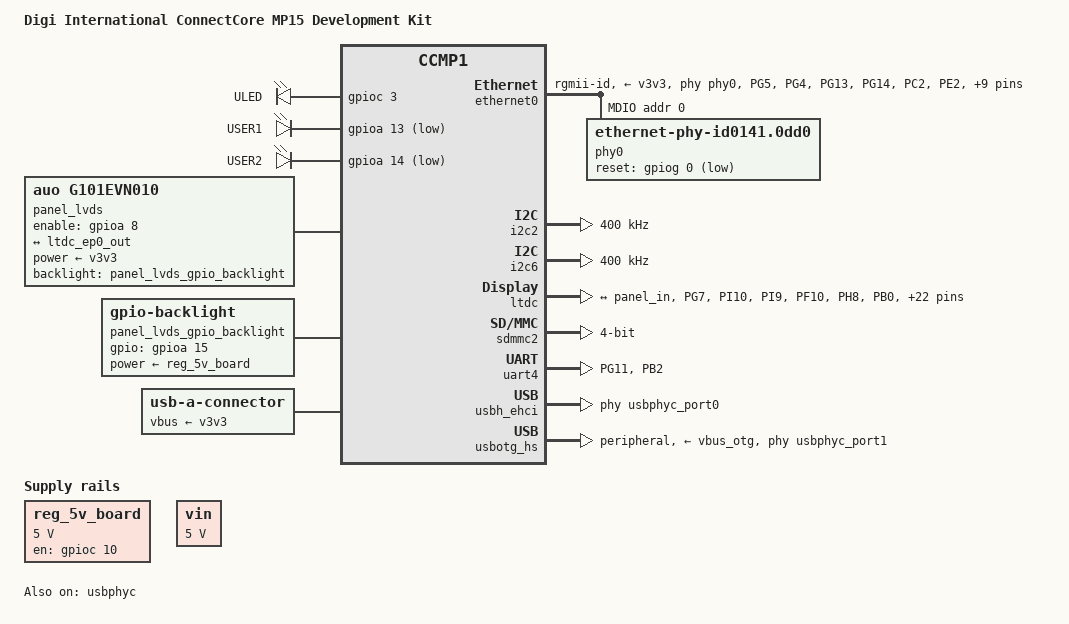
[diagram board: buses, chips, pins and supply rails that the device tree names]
// SPDX-License-Identifier: (GPL-2.0+ OR BSD-3-Clause)
/*
 * Copyright (C) STMicroelectronics 2019 - All Rights Reserved
 * Copyright (C) 2022,2023 Digi International Inc - All Rights Reserved
 */

#include <dt-bindings/gpio/gpio.h>
#include <dt-bindings/input/input.h>
#include <dt-bindings/leds/common.h>
#include <dt-bindings/rtc/rtc-stm32.h>
#include "ccmp15.dtsi"

/ {
	model = "Digi International ConnectCore MP15 Development Kit";
	compatible = "digi,ccmp15-dvk", "digi,ccmp15", "digi,ccmp1";

	chosen {
		#address-cells = <1>;
		#size-cells = <1>;
		ranges;
		stdout-path = "serial0:115200n8";

		framebuffer {
			compatible = "simple-framebuffer";
			clocks = <&rcc LTDC_PX>;
			status = "disabled";
		};
	};

	aliases {
		serial0 = &uart4;
	};

	regulators {
		compatible = "simple-bus";
		#address-cells = <1>;
		#size-cells = <0>;

		reg_5v_board: regulator@1 {
			compatible = "regulator-fixed";
			reg = <1>;
			regulator-name = "5v_board";
			regulator-min-microvolt = <5000000>;
			regulator-max-microvolt = <5000000>;
			gpio = <&gpioc 10 GPIO_ACTIVE_HIGH>;
			enable-active-high;
			status = "okay";
		};
	};

	led {
		compatible = "gpio-leds";

		uled {
			label = "ULED";
			gpios = <&gpioc 3 GPIO_ACTIVE_HIGH>;
			default-state = "off";
		};

		user1 {
			label = "USER1";
			gpios = <&gpioa 13 GPIO_ACTIVE_LOW>;
			default-state = "off";
		};

		user2 {
			label = "USER2";
			gpios = <&gpioa 14 GPIO_ACTIVE_LOW>;
			default-state = "off";
		};
	};

	panel_lvds: panel-lvds {
		compatible = "auo,g101evn010", "simple-panel";
		power-supply = <&v3v3>;
		backlight = <&panel_lvds_gpio_backlight>;
		enable-gpios = <&gpioa 8 GPIO_ACTIVE_HIGH>; /* LVDS_PDWN */
		status = "okay";

		width-mm = <216>;
		height-mm = <135>;
		data-mapping = "jeida-24";

		panel-timing {
			clock-frequency = <54000000>;
			hactive = <1280>;
			vactive = <800>;
			hfront-porch = <82>;
			hback-porch = <84>;
			hsync-len = <2>;
			vfront-porch = <8>;
			vback-porch = <6>;
			vsync-len = <2>;
		};

		port {
			panel_in: endpoint {
				remote-endpoint = <&ltdc_ep0_out>;
			};
		};
	};

	panel_lvds_gpio_backlight: panel-lvds-gpio-backlight {
		compatible = "gpio-backlight";
		power-supply = <&reg_5v_board>;
		gpios = <&gpioa 15 GPIO_ACTIVE_HIGH>; /* BCKL_PWM */
		default-on;
		status = "okay";
	};

	vin: vin {
		compatible = "regulator-fixed";
		regulator-name = "vin";
		regulator-min-microvolt = <5000000>;
		regulator-max-microvolt = <5000000>;
		regulator-always-on;
	};
};

&dsi {
	#address-cells = <1>;
	#size-cells = <0>;
	clocks = <&rcc DSI>, <&scmi_clk CK_SCMI_HSE>, <&rcc DSI_PX>;
	status = "disabled";

	ports {
		#address-cells = <1>;
		#size-cells = <0>;

		port@0 {
			reg = <0>;
			dsi_in: endpoint {
				remote-endpoint = <&ltdc_ep0_out>;
			};
		};

		/*port@1 {
			reg = <1>;
			dsi_out: endpoint {
				remote-endpoint = <&dsi_panel_in>;
			};
		};*/
	};
};

/* 10/100 Ethernet */
/*&ethernet0 {
	status = "okay";
	pinctrl-0 = <&ethernet0_rgmii_pins_a>;
	pinctrl-1 = <&ethernet0_rgmii_sleep_pins_a>;
	pinctrl-names = "default", "sleep";
	phy-mode = "rgmii-id";
	max-speed = <1000>;
	phy-handle = <&phy0>;
	phy-supply = <&v3v3>;
	nvmem-cells = <&ethernet_mac_address>;
	nvmem-cell-names = "mac-address";

	mdio0 {
		#address-cells = <1>;
		#size-cells = <0>;
		compatible = "snps,dwmac-mdio";
		phy0: ethernet-phy@0 {
			reg = <0>;
		};
	};
};*/

/* 10/100/1000 Ethernet */
&ethernet0 {
	status = "okay";
	pinctrl-0 = <&ccmp15_ethernet0_rgmii_pins>;
	pinctrl-1 = <&ccmp15_ethernet0_rgmii_sleep_pins>;
	pinctrl-names = "default", "sleep";
	phy-mode = "rgmii-id";
	max-speed = <1000>;
	phy-handle = <&phy0>;
	phy-supply = <&v3v3>;

	mdio0 {
		#address-cells = <1>;
		#size-cells = <0>;
		compatible = "snps,dwmac-mdio";

		phy0: ethernet-phy@0 {
			reg = <0>;
			compatible = "ethernet-phy-id0141.0dd0"; /* PHY ID for Marvell 88E1512 */
			reset-gpios = <&gpiog 0 (GPIO_ACTIVE_LOW | GPIO_PULL_UP)>;
			reset-assert-us = <1000>;
			reset-deassert-us = <2000>;
		};
	};
};

&gpioz {
	clocks = <&scmi_clk CK_SCMI_GPIOZ>;
};

&i2c2 {
	pinctrl-names = "default", "sleep";
	pinctrl-0 = <&i2c2_pins_a>;
	pinctrl-1 = <&i2c2_sleep_pins_a>;
	i2c-scl-rising-time-ns = <185>;
	i2c-scl-falling-time-ns = <20>;
	clock-frequency = <400000>;
	status = "okay";
	/* spare dmas for other usage */
	/delete-property/dmas;
	/delete-property/dma-names;
};

&i2c6 {
	pinctrl-names = "default", "sleep";
	pinctrl-0 = <&ccmp15_i2c6_pins_a>;
	pinctrl-1 = <&ccmp15_i2c6_sleep_pins_a>;
	i2c-scl-rising-time-ns = <185>;
	i2c-scl-falling-time-ns = <20>;
	clock-frequency = <400000>;
	clocks = <&scmi_clk CK_SCMI_I2C6>;
	resets = <&scmi_reset RST_SCMI_I2C6>;
	status = "okay";
	/* spare dmas for other usage */
	/delete-property/dmas;
	/delete-property/dma-names;
};

&ltdc {
	status = "okay";
	pinctrl-names = "default", "sleep";
	pinctrl-0 = <&ccmp15_ltdc_18_bits_pins>;
	pinctrl-1 = <&ccmp15_ltdc_sleep_pins>;

	port {
		ltdc_ep0_out: endpoint {
			remote-endpoint = <&panel_in>;
		};
	};
};

/* Micro SD */
&sdmmc2 {
	pinctrl-names = "default", "opendrain", "sleep";
	pinctrl-0 = <&sdmmc2_b4_pins_a>;
	pinctrl-1 = <&sdmmc2_b4_od_pins_a>;
	pinctrl-2 = <&sdmmc2_b4_sleep_pins_a>;
	broken-cd;
	disable-wp;
	no-1-8-v;
	bus-width = <4>;
	/* Power option via 0-ohm resistor */
	/* vmmc-supply = <&vdd_sd>; */
	sd-uhs-sdr12;
	sd-uhs-sdr25;
	sd-uhs-sdr50;
	sd-uhs-ddr50;
	status = "okay";
};

&uart4 {
	pinctrl-names = "default", "sleep", "idle";
	pinctrl-0 = <&ccmp15_uart4_pins_a>;
	pinctrl-1 = <&uart4_sleep_pins_a>;
	pinctrl-2 = <&uart4_idle_pins_a>;
	/delete-property/dmas;
	/delete-property/dma-names;
	status = "okay";
};

&usbh_ehci {
	phys = <&usbphyc_port0>;
	status = "okay";
};

&usbotg_hs {
	u-boot,force-b-session-valid;
	dr_mode = "peripheral";
	phys = <&usbphyc_port1 0>;
	phy-names = "usb2-phy";
	vbus-supply = <&vbus_otg>;
	status = "okay";
};

&usbphyc {
	status = "okay";
};

&usbphyc_port0 {
	phy-supply = <&vdd_usb>;
	st,tune-hs-dc-level = <2>;
	st,enable-fs-rftime-tuning;
	st,enable-hs-rftime-reduction;
	st,trim-hs-current = <15>;
	st,trim-hs-impedance = <1>;
	st,tune-squelch-level = <3>;
	st,tune-hs-rx-offset = <2>;
	st,no-lsfs-sc;

	/*
	 * Hack to keep hub active until all connected devices are suspended
	 * otherwise the hub will be powered off as soon as the v3v3 is disabled
	 * and it can disturb connected devices.
	 */
	connector {
		compatible = "usb-a-connector";
		vbus-supply = <&v3v3>;
	};
};

&usbphyc_port1 {
	phy-supply = <&vdd_usb>;
	st,tune-hs-dc-level = <2>;
	st,enable-fs-rftime-tuning;
	st,enable-hs-rftime-reduction;
	st,trim-hs-current = <15>;
	st,trim-hs-impedance = <1>;
	st,tune-squelch-level = <3>;
	st,tune-hs-rx-offset = <2>;
	st,no-lsfs-sc;
};

&pinctrl {
	ccmp15_ethernet0_rgmii_pins: rgmii-1 {
		pins1 {
			pinmux = <STM32_PINMUX('G', 5, AF11)>, /* ETH_RGMII_CLK125 */
				 <STM32_PINMUX('G', 4, AF11)>, /* ETH_RGMII_GTX_CLK */
				 <STM32_PINMUX('G', 13, AF11)>, /* ETH_RGMII_TXD0 */
				 <STM32_PINMUX('G', 14, AF11)>, /* ETH_RGMII_TXD1 */
				 <STM32_PINMUX('C', 2, AF11)>, /* ETH_RGMII_TXD2 */
				 <STM32_PINMUX('E', 2, AF11)>, /* ETH_RGMII_TXD3 */
				 <STM32_PINMUX('B', 11, AF11)>, /* ETH_RGMII_TX_CTL */
				 <STM32_PINMUX('C', 1, AF11)>; /* ETH_MDC */
			bias-disable;
			drive-push-pull;
			slew-rate = <2>;
		};
		pins2 {
			pinmux = <STM32_PINMUX('A', 2, AF11)>; /* ETH_MDIO */
			bias-disable;
			drive-push-pull;
			slew-rate = <0>;
		};
		pins3 {
			pinmux = <STM32_PINMUX('C', 4, AF11)>, /* ETH_RGMII_RXD0 */
				 <STM32_PINMUX('C', 5, AF11)>, /* ETH_RGMII_RXD1 */
				 <STM32_PINMUX('H', 6, AF11)>, /* ETH_RGMII_RXD2 */
				 <STM32_PINMUX('H', 7, AF11)>, /* ETH_RGMII_RXD3 */
				 <STM32_PINMUX('A', 1, AF11)>, /* ETH_RGMII_RX_CLK */
				 <STM32_PINMUX('A', 7, AF11)>; /* ETH_RGMII_RX_CTL */
			bias-disable;
		};
	};

	ccmp15_ethernet0_rgmii_sleep_pins: rgmii-sleep-1 {
		pins1 {
			pinmux = <STM32_PINMUX('G', 5, ANALOG)>, /* ETH_RGMII_CLK125 */
				 <STM32_PINMUX('G', 4, ANALOG)>, /* ETH_RGMII_GTX_CLK */
				 <STM32_PINMUX('G', 13, ANALOG)>, /* ETH_RGMII_TXD0 */
				 <STM32_PINMUX('G', 14, ANALOG)>, /* ETH_RGMII_TXD1 */
				 <STM32_PINMUX('C', 2, ANALOG)>, /* ETH_RGMII_TXD2 */
				 <STM32_PINMUX('E', 2, ANALOG)>, /* ETH_RGMII_TXD3 */
				 <STM32_PINMUX('B', 11, ANALOG)>, /* ETH_RGMII_TX_CTL */
				 <STM32_PINMUX('C', 1, ANALOG)>, /* ETH_MDC */
				 <STM32_PINMUX('A', 2, ANALOG)>, /* ETH_MDIO */
				 <STM32_PINMUX('C', 4, ANALOG)>, /* ETH_RGMII_RXD0 */
				 <STM32_PINMUX('C', 5, ANALOG)>, /* ETH_RGMII_RXD1 */
				 <STM32_PINMUX('H', 6, ANALOG)>, /* ETH_RGMII_RXD2 */
				 <STM32_PINMUX('H', 7, ANALOG)>, /* ETH_RGMII_RXD3 */
				 <STM32_PINMUX('A', 1, ANALOG)>, /* ETH_RGMII_RX_CLK */
				 <STM32_PINMUX('A', 7, ANALOG)>; /* ETH_RGMII_RX_CTL */
		 };
	};

	ccmp15_ltdc_18_bits_pins: ltdc-18bits-0 {
		pins1 {
			pinmux = <STM32_PINMUX('G',  7, AF14)>, /* LCD_CLK */
				 <STM32_PINMUX('I', 10, AF14)>, /* LCD_HSYNC */
				 <STM32_PINMUX('I',  9, AF14)>, /* LCD_VSYNC */
				 <STM32_PINMUX('F', 10, AF14)>, /* LCD_DE */
				 <STM32_PINMUX('H',  8, AF14)>, /* LCD_R2 */
				 <STM32_PINMUX('B',  0,  AF9)>, /* LCD_R3 */
				 <STM32_PINMUX('A',  5, AF14)>, /* LCD_R4 */
				 <STM32_PINMUX('C',  0, AF14)>, /* LCD_R5 */
				 <STM32_PINMUX('H', 12, AF14)>, /* LCD_R6 */
				 <STM32_PINMUX('E', 15, AF14)>, /* LCD_R7 */
				 <STM32_PINMUX('H', 13, AF14)>, /* LCD_G2 */
				 <STM32_PINMUX('G', 10,  AF9)>, /* LCD_G3 */
				 <STM32_PINMUX('H', 15, AF14)>, /* LCD_G4 */
				 <STM32_PINMUX('F', 11, AF14)>, /* LCD_G5 */
				 <STM32_PINMUX('I', 11,  AF9)>, /* LCD_G6 */
				 <STM32_PINMUX('B',  5, AF14)>, /* LCD_G7 */
				 <STM32_PINMUX('A',  3,  AF9)>, /* LCD_B2 */
				 <STM32_PINMUX('D', 10, AF14)>, /* LCD_B3 */
				 <STM32_PINMUX('I',  4, AF14)>, /* LCD_B4 */
				 <STM32_PINMUX('I',  5, AF14)>, /* LCD_B5 */
				 <STM32_PINMUX('I',  6, AF14)>, /* LCD_B6 */
				 <STM32_PINMUX('I',  7, AF14)>; /* LCD_B7 */
			bias-disable;
			drive-push-pull;
			slew-rate = <1>;
		};
		pins2 {
			pinmux = <STM32_PINMUX('H',  2, GPIO)>, /* LCD_R0 */
				 <STM32_PINMUX('H',  3, GPIO)>, /* LCD_R1 */
				 <STM32_PINMUX('B',  1, GPIO)>, /* LCD_G0 */
				 <STM32_PINMUX('E',  6, GPIO)>, /* LCD_G1 */
				 <STM32_PINMUX('E',  4, GPIO)>, /* LCD_B0 */
				 <STM32_PINMUX('G', 12, GPIO)>; /* LCD_B1 */
			bias-pull-down;
			drive-push-pull;
			slew-rate = <0>;
		};
	};

	ccmp15_ltdc_sleep_pins: ltdc-sleep-0 {
		pins {
			pinmux = <STM32_PINMUX('G',  7, ANALOG)>, /* LCD_CLK */
				 <STM32_PINMUX('I', 10, ANALOG)>, /* LCD_HSYNC */
				 <STM32_PINMUX('I',  9, ANALOG)>, /* LCD_VSYNC */
				 <STM32_PINMUX('F', 10, ANALOG)>, /* LCD_DE */
				 <STM32_PINMUX('H',  2, ANALOG)>, /* LCD_R0 */
				 <STM32_PINMUX('H',  3, ANALOG)>, /* LCD_R1 */
				 <STM32_PINMUX('H',  8, ANALOG)>, /* LCD_R2 */
				 <STM32_PINMUX('B',  0, ANALOG)>, /* LCD_R3 */
				 <STM32_PINMUX('A',  5, ANALOG)>, /* LCD_R4 */
				 <STM32_PINMUX('C',  0, ANALOG)>, /* LCD_R5 */
				 <STM32_PINMUX('H', 12, ANALOG)>, /* LCD_R6 */
				 <STM32_PINMUX('E', 15, ANALOG)>, /* LCD_R7 */
				 <STM32_PINMUX('B',  1, ANALOG)>, /* LCD_G0 */
				 <STM32_PINMUX('E',  6, ANALOG)>, /* LCD_G1 */
				 <STM32_PINMUX('H', 13, ANALOG)>, /* LCD_G2 */
				 <STM32_PINMUX('G', 10, ANALOG)>, /* LCD_G3 */
				 <STM32_PINMUX('H', 15, ANALOG)>, /* LCD_G4 */
				 <STM32_PINMUX('F', 11, ANALOG)>, /* LCD_G5 */
				 <STM32_PINMUX('I', 11, ANALOG)>, /* LCD_G6 */
				 <STM32_PINMUX('B',  5, ANALOG)>, /* LCD_G7 */
				 <STM32_PINMUX('E',  4, ANALOG)>, /* LCD_B0 */
				 <STM32_PINMUX('G', 12, ANALOG)>, /* LCD_B1 */
				 <STM32_PINMUX('A',  3, ANALOG)>, /* LCD_B2 */
				 <STM32_PINMUX('D', 10, ANALOG)>, /* LCD_B3 */
				 <STM32_PINMUX('I',  4, ANALOG)>, /* LCD_B4 */
				 <STM32_PINMUX('I',  5, ANALOG)>, /* LCD_B5 */
				 <STM32_PINMUX('I',  6, ANALOG)>, /* LCD_B6 */
				 <STM32_PINMUX('I',  7, ANALOG)>; /* LCD_B7 */
		};
	};

	ccmp15_uart4_pins_a: ccmp15_uart4-0 {
		pins1 {
			pinmux = <STM32_PINMUX('G', 11, AF6)>; /* UART4_TX */
			bias-disable;
			drive-push-pull;
			slew-rate = <0>;
		};
		pins2 {
			pinmux = <STM32_PINMUX('B', 2, AF8)>; /* UART4_RX */
			bias-pull-up;
		};
	};


};

&pinctrl_z {
	ccmp15_i2c6_pins_a: ccmp15_i2c6-0 {
		pins {
			pinmux = <STM32_PINMUX('Z', 0, AF2)>, /* I2C6_SCL */
				 <STM32_PINMUX('Z', 3, AF2)>; /* I2C6_SDA */
			bias-disable;
			drive-open-drain;
			slew-rate = <0>;
		};
	};

	ccmp15_i2c6_sleep_pins_a: ccmp15_i2c6-sleep-0 {
		pins {
			pinmux = <STM32_PINMUX('Z', 0, ANALOG)>, /* I2C6_SCL */
				 <STM32_PINMUX('Z', 3, ANALOG)>; /* I2C6_SDA */
		};
	};
};
